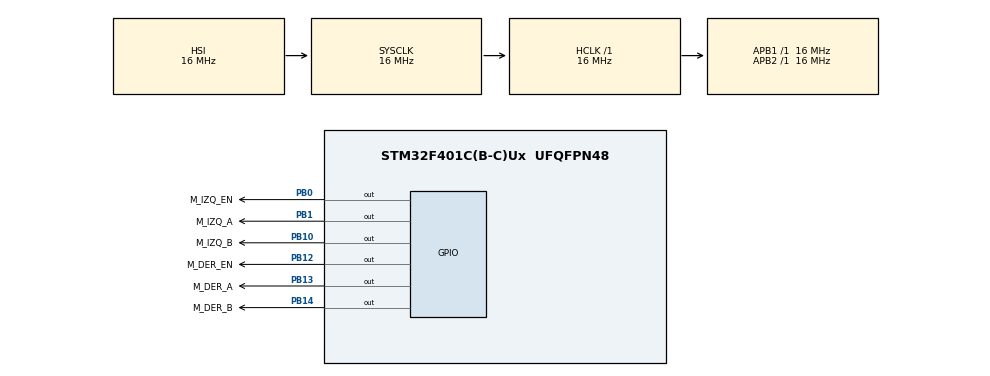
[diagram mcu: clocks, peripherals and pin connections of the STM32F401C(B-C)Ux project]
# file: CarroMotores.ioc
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Mcu.Family=STM32F4
Mcu.Name=STM32F401C(B-C)Ux
Mcu.Package=UFQFPN48
NVIC.PriorityGroup=NVIC_PRIORITYGROUP_4
PB0.GPIO_Label=M_IZQ_EN
PB0.Signal=GPIO_Output
PB1.GPIO_Label=M_IZQ_A
PB1.Signal=GPIO_Output
PB10.GPIO_Label=M_IZQ_B
PB10.Signal=GPIO_Output
PB12.GPIO_Label=M_DER_EN
PB12.Signal=GPIO_Output
PB13.GPIO_Label=M_DER_A
PB13.Signal=GPIO_Output
PB14.GPIO_Label=M_DER_B
PB14.Signal=GPIO_Output
ProjectManager.HeapSize=0x200
ProjectManager.StackSize=0x400
ProjectManager.TargetToolchain=CMake
RCC.AHBFreq_Value=16000000
RCC.APB1Freq_Value=16000000
RCC.APB2Freq_Value=16000000
RCC.CortexFreq_Value=16000000
RCC.HSE_VALUE=25000000
RCC.HSI_VALUE=16000000
RCC.LSE_VALUE=32768
RCC.SYSCLKFreq_VALUE=16000000
RCC.VCOOutputFreq_Value=192000000
board=custom

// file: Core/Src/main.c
/* USER CODE BEGIN Header */
/**
  ******************************************************************************
  * @file           : main.c
  * @brief          : CarroMotores
  *
  * Controla dos motores DC a través de un puente H. El carro repite una
  * rutina definida como tabla (movimiento + duración):
  *   avanzar -> retroceder -> girar derecha -> girar izquierda -> frenar
  *
  * Reloj: HSI 16 MHz (sin PLL).
  ******************************************************************************
  */
/* USER CODE END Header */
#include "main.h"

/* USER CODE BEGIN Includes */
#include "motores.h"
/* USER CODE END Includes */

/* USER CODE BEGIN PD */
#define TIEMPO_PASO_MS   1000U
/* USER CODE END PD */

/* USER CODE BEGIN PM */
#define CANTIDAD(x) (sizeof(x) / sizeof((x)[0]))
/* USER CODE END PM */

/* USER CODE BEGIN PV */
/* Rutina del carro: cambiar el orden o los tiempos solo requiere editar esta tabla */
static const PasoRutina rutinaCarro[] =
{
  { MOV_AVANZAR,         TIEMPO_PASO_MS },
  { MOV_RETROCEDER,      TIEMPO_PASO_MS },
  { MOV_GIRAR_DERECHA,   TIEMPO_PASO_MS },
  { MOV_GIRAR_IZQUIERDA, TIEMPO_PASO_MS },
  { MOV_FRENAR,          TIEMPO_PASO_MS },
};

volatile uint32_t vueltasRutina = 0;   /* cuántas veces se ha completado la rutina */
/* USER CODE END PV */

void SystemClock_Config(void);
static void MX_GPIO_Init(void);

int main(void)
{

  /* MCU Configuration--------------------------------------------------------*/

  /* Reset of all peripherals, Initializes the Flash interface and the Systick. */
  HAL_Init();

  /* Configure the system clock */
  SystemClock_Config();

  /* Initialize all configured peripherals */
  MX_GPIO_Init();
  /* USER CODE BEGIN 2 */
  Motores_Ejecutar(MOV_FRENAR);   /* arranca quieto */
  /* USER CODE END 2 */

  /* Infinite loop */
  /* USER CODE BEGIN WHILE */
  while (1)
  {
    Motores_Rutina(rutinaCarro, CANTIDAD(rutinaCarro));
    vueltasRutina++;
    /* USER CODE END WHILE */

  }
}

void SystemClock_Config(void)
{
  RCC_OscInitTypeDef RCC_OscInitStruct = {0};
  RCC_ClkInitTypeDef RCC_ClkInitStruct = {0};

  /** Configure the main internal regulator output voltage
  */
  __HAL_RCC_PWR_CLK_ENABLE();
  __HAL_PWR_VOLTAGESCALING_CONFIG(PWR_REGULATOR_VOLTAGE_SCALE2);

  /** Initializes the RCC Oscillators according to the specified parameters
  * in the RCC_OscInitTypeDef structure.
  */
  RCC_OscInitStruct.OscillatorType = RCC_OSCILLATORTYPE_HSI;
  RCC_OscInitStruct.HSIState = RCC_HSI_ON;
  RCC_OscInitStruct.HSICalibrationValue = RCC_HSICALIBRATION_DEFAULT;
  RCC_OscInitStruct.PLL.PLLState = RCC_PLL_NONE;
  if (HAL_RCC_OscConfig(&RCC_OscInitStruct) != HAL_OK)
  {
    Error_Handler();
  }

  /** Initializes the CPU, AHB and APB buses clocks
  */
  RCC_ClkInitStruct.ClockType = RCC_CLOCKTYPE_HCLK|RCC_CLOCKTYPE_SYSCLK
                              |RCC_CLOCKTYPE_PCLK1|RCC_CLOCKTYPE_PCLK2;
  RCC_ClkInitStruct.SYSCLKSource = RCC_SYSCLKSOURCE_HSI;
  RCC_ClkInitStruct.AHBCLKDivider = RCC_SYSCLK_DIV1;
  RCC_ClkInitStruct.APB1CLKDivider = RCC_HCLK_DIV1;
  RCC_ClkInitStruct.APB2CLKDivider = RCC_HCLK_DIV1;

  if (HAL_RCC_ClockConfig(&RCC_ClkInitStruct, FLASH_LATENCY_0) != HAL_OK)
  {
    Error_Handler();
  }
}

static void MX_GPIO_Init(void)
{
  GPIO_InitTypeDef GPIO_InitStruct = {0};

  /* GPIO Ports Clock Enable */
  __HAL_RCC_GPIOB_CLK_ENABLE();

  /*Configure GPIO pin Output Level */
  HAL_GPIO_WritePin(GPIOB, M_IZQ_EN_Pin|M_IZQ_A_Pin|M_IZQ_B_Pin|M_DER_EN_Pin
                          |M_DER_A_Pin|M_DER_B_Pin, GPIO_PIN_RESET);

  /*Configure GPIO pins : M_IZQ_EN_Pin M_IZQ_A_Pin M_IZQ_B_Pin M_DER_EN_Pin
                           M_DER_A_Pin M_DER_B_Pin */
  GPIO_InitStruct.Pin = M_IZQ_EN_Pin|M_IZQ_A_Pin|M_IZQ_B_Pin|M_DER_EN_Pin
                          |M_DER_A_Pin|M_DER_B_Pin;
  GPIO_InitStruct.Mode = GPIO_MODE_OUTPUT_PP;
  GPIO_InitStruct.Pull = GPIO_NOPULL;
  GPIO_InitStruct.Speed = GPIO_SPEED_FREQ_LOW;
  HAL_GPIO_Init(GPIOB, &GPIO_InitStruct);

}

void Error_Handler(void)
{
  __disable_irq();
  while (1)
  {
  }
}
#ifdef USE_FULL_ASSERT
/**
  * @brief  Reports the name of the source file and the source line number
  *         where the assert_param error has occurred.
  * @param  file: pointer to the source file name
  * @param  line: assert_param error line source number
  * @retval None
  */
void assert_failed(uint8_t *file, uint32_t line)
{
  /* USER CODE BEGIN 6 */
  (void)file;
  (void)line;
  /* USER CODE END 6 */
}
#endif /* USE_FULL_ASSERT */
